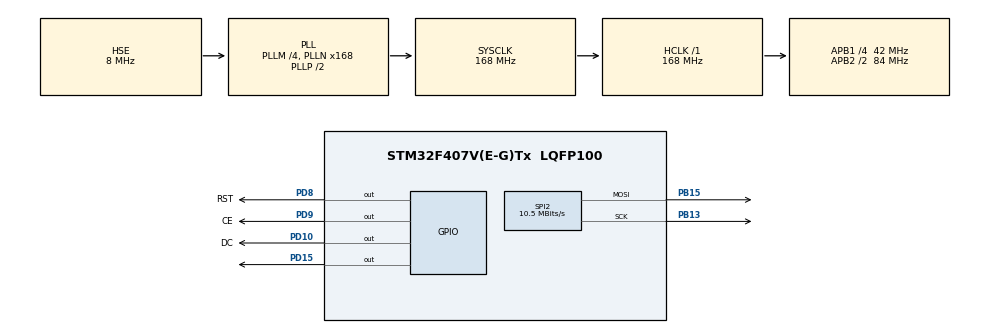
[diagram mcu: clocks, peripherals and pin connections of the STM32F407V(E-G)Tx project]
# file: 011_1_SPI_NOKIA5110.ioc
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Dma.Request0=SPI2_TX
Dma.SPI2_TX.0.Direction=DMA_MEMORY_TO_PERIPH
Dma.SPI2_TX.0.FIFOMode=DMA_FIFOMODE_DISABLE
Dma.SPI2_TX.0.Instance=DMA1_Stream4
Dma.SPI2_TX.0.MemDataAlignment=DMA_MDATAALIGN_BYTE
Dma.SPI2_TX.0.MemInc=DMA_MINC_ENABLE
Dma.SPI2_TX.0.Mode=DMA_NORMAL
Dma.SPI2_TX.0.PeriphDataAlignment=DMA_PDATAALIGN_BYTE
Dma.SPI2_TX.0.PeriphInc=DMA_PINC_DISABLE
Dma.SPI2_TX.0.Priority=DMA_PRIORITY_LOW
Mcu.Family=STM32F4
Mcu.Name=STM32F407V(E-G)Tx
Mcu.Package=LQFP100
NVIC.DMA1_Stream4_IRQn=true\:0\:0\:false\:false\:true\:false\:true
NVIC.PriorityGroup=NVIC_PRIORITYGROUP_4
PB13.Mode=TX_Only_Simplex_Unidirect_Master
PB13.Signal=SPI2_SCK
PB15.Mode=TX_Only_Simplex_Unidirect_Master
PB15.Signal=SPI2_MOSI
PD10.GPIO_Label=DC
PD10.Signal=GPIO_Output
PD15.Signal=GPIO_Output
PD8.GPIO_Label=RST
PD8.Signal=GPIO_Output
PD9.GPIO_Label=CE
PD9.Signal=GPIO_Output
PH0-OSC_IN.Mode=HSE-External-Oscillator
PH0-OSC_IN.Signal=RCC_OSC_IN
PH1-OSC_OUT.Mode=HSE-External-Oscillator
PH1-OSC_OUT.Signal=RCC_OSC_OUT
ProjectManager.HeapSize=0x200
ProjectManager.StackSize=0x400
ProjectManager.TargetToolchain=STM32CubeIDE
RCC.48MHZClocksFreq_Value=84000000
RCC.AHBFreq_Value=168000000
RCC.APB1CLKDivider=RCC_HCLK_DIV4
RCC.APB1Freq_Value=42000000
RCC.APB1TimFreq_Value=84000000
RCC.APB2CLKDivider=RCC_HCLK_DIV2
RCC.APB2Freq_Value=84000000
RCC.APB2TimFreq_Value=168000000
RCC.CortexFreq_Value=168000000
RCC.HCLKFreq_Value=168000000
RCC.HSE_VALUE=8000000
RCC.HSI_VALUE=16000000
RCC.LSE_VALUE=32768
RCC.PLLM=4
RCC.PLLN=168
RCC.PLLSourceVirtual=RCC_PLLSOURCE_HSE
RCC.SYSCLKFreq_VALUE=168000000
RCC.SYSCLKSource=RCC_SYSCLKSOURCE_PLLCLK
RCC.VCOOutputFreq_Value=336000000
SPI2.BaudRatePrescaler=SPI_BAUDRATEPRESCALER_4
SPI2.CalculateBaudRate=10.5 MBits/s
SPI2.Direction=SPI_DIRECTION_2LINES
SPI2.Mode=SPI_MODE_MASTER
SPI2.VirtualType=VM_MASTER
board=custom

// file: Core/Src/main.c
/* USER CODE BEGIN Header */
/**
  ******************************************************************************
  * @file           : main.c
  * @brief          : Main program body
  ******************************************************************************
  * @attention
  *
  * <h2><center>&copy; Copyright (c) 2021 STMicroelectronics.
  * All rights reserved.</center></h2>
  *
  * This software component is licensed by ST under BSD 3-Clause license,
  * the "License"; You may not use this file except in compliance with the
  * License. You may obtain a copy of the License at:
  *                        opensource.org/licenses/BSD-3-Clause
  *
  ******************************************************************************
  */
/* USER CODE END Header */
#include "main.h"

/* USER CODE BEGIN Includes */
#include "Nokia5110.h"
/* USER CODE END Includes */

SPI_HandleTypeDef hspi2;
DMA_HandleTypeDef hdma_spi2_tx;

void SystemClock_Config(void);
static void MX_GPIO_Init(void);
static void MX_DMA_Init(void);
static void MX_SPI2_Init(void);

int main(void)
{

  /* MCU Configuration--------------------------------------------------------*/

  /* Reset of all peripherals, Initializes the Flash interface and the Systick. */
  HAL_Init();

  /* Configure the system clock */
  SystemClock_Config();

  /* Initialize all configured peripherals */
  MX_GPIO_Init();
  MX_DMA_Init();
  MX_SPI2_Init();

  /* Infinite loop */
  while (1)
  {

    /* USER CODE BEGIN 3 */

	  Nokia5110_SetPixel(0, 0, 1);
	  Nokia5110_SetPixel(1, 0, 1);
	  Nokia5110_SetPixel(2, 0, 1);
	  Nokia5110_SetPixel(3, 0, 1);
	  Nokia5110_SetPixel(4, 0, 1);
	  Nokia5110_SetPixel(0, 1, 1);
	  Nokia5110_SetPixel(0, 2, 1);
	  Nokia5110_SetPixel(0, 3, 1);
	  Nokia5110_SetPixel(1, 3, 1);
	  Nokia5110_SetPixel(2, 3, 1);
	  Nokia5110_SetPixel(3, 3, 1);
	  Nokia5110_SetPixel(0, 4, 1);
	  Nokia5110_SetPixel(0, 5, 1);
	  Nokia5110_SetPixel(0, 6, 1);
	  Nokia5110_Update();

  }
  /* USER CODE END 3 */
}

void SystemClock_Config(void)
{
  RCC_OscInitTypeDef RCC_OscInitStruct = {0};
  RCC_ClkInitTypeDef RCC_ClkInitStruct = {0};

  /** Configure the main internal regulator output voltage
  */
  __HAL_RCC_PWR_CLK_ENABLE();
  __HAL_PWR_VOLTAGESCALING_CONFIG(PWR_REGULATOR_VOLTAGE_SCALE1);
  /** Initializes the RCC Oscillators according to the specified parameters
  * in the RCC_OscInitTypeDef structure.
  */
  RCC_OscInitStruct.OscillatorType = RCC_OSCILLATORTYPE_HSE;
  RCC_OscInitStruct.HSEState = RCC_HSE_ON;
  RCC_OscInitStruct.PLL.PLLState = RCC_PLL_ON;
  RCC_OscInitStruct.PLL.PLLSource = RCC_PLLSOURCE_HSE;
  RCC_OscInitStruct.PLL.PLLM = 4;
  RCC_OscInitStruct.PLL.PLLN = 168;
  RCC_OscInitStruct.PLL.PLLP = RCC_PLLP_DIV2;
  RCC_OscInitStruct.PLL.PLLQ = 4;
  if (HAL_RCC_OscConfig(&RCC_OscInitStruct) != HAL_OK)
  {
    Error_Handler();
  }
  /** Initializes the CPU, AHB and APB buses clocks
  */
  RCC_ClkInitStruct.ClockType = RCC_CLOCKTYPE_HCLK|RCC_CLOCKTYPE_SYSCLK
                              |RCC_CLOCKTYPE_PCLK1|RCC_CLOCKTYPE_PCLK2;
  RCC_ClkInitStruct.SYSCLKSource = RCC_SYSCLKSOURCE_PLLCLK;
  RCC_ClkInitStruct.AHBCLKDivider = RCC_SYSCLK_DIV1;
  RCC_ClkInitStruct.APB1CLKDivider = RCC_HCLK_DIV4;
  RCC_ClkInitStruct.APB2CLKDivider = RCC_HCLK_DIV2;

  if (HAL_RCC_ClockConfig(&RCC_ClkInitStruct, FLASH_LATENCY_5) != HAL_OK)
  {
    Error_Handler();
  }
}

static void MX_SPI2_Init(void)
{

  /* SPI2 parameter configuration*/
  hspi2.Instance = SPI2;
  hspi2.Init.Mode = SPI_MODE_MASTER;
  hspi2.Init.Direction = SPI_DIRECTION_2LINES;
  hspi2.Init.DataSize = SPI_DATASIZE_8BIT;
  hspi2.Init.CLKPolarity = SPI_POLARITY_LOW;
  hspi2.Init.CLKPhase = SPI_PHASE_1EDGE;
  hspi2.Init.NSS = SPI_NSS_SOFT;
  hspi2.Init.BaudRatePrescaler = SPI_BAUDRATEPRESCALER_4;
  hspi2.Init.FirstBit = SPI_FIRSTBIT_MSB;
  hspi2.Init.TIMode = SPI_TIMODE_DISABLE;
  hspi2.Init.CRCCalculation = SPI_CRCCALCULATION_DISABLE;
  hspi2.Init.CRCPolynomial = 10;
  if (HAL_SPI_Init(&hspi2) != HAL_OK)
  {
    Error_Handler();
  }

}

static void MX_DMA_Init(void)
{

  /* DMA controller clock enable */
  __HAL_RCC_DMA1_CLK_ENABLE();

  /* DMA interrupt init */
  /* DMA1_Stream4_IRQn interrupt configuration */
  HAL_NVIC_SetPriority(DMA1_Stream4_IRQn, 0, 0);
  HAL_NVIC_EnableIRQ(DMA1_Stream4_IRQn);

}

static void MX_GPIO_Init(void)
{
  GPIO_InitTypeDef GPIO_InitStruct = {0};

  /* GPIO Ports Clock Enable */
  __HAL_RCC_GPIOH_CLK_ENABLE();
  __HAL_RCC_GPIOB_CLK_ENABLE();
  __HAL_RCC_GPIOD_CLK_ENABLE();

  /*Configure GPIO pin Output Level */
  HAL_GPIO_WritePin(GPIOD, RST_Pin|CE_Pin|DC_Pin|GPIO_PIN_15, GPIO_PIN_RESET);

  /*Configure GPIO pins : RST_Pin CE_Pin DC_Pin PD15 */
  GPIO_InitStruct.Pin = RST_Pin|CE_Pin|DC_Pin|GPIO_PIN_15;
  GPIO_InitStruct.Mode = GPIO_MODE_OUTPUT_PP;
  GPIO_InitStruct.Pull = GPIO_NOPULL;
  GPIO_InitStruct.Speed = GPIO_SPEED_FREQ_LOW;
  HAL_GPIO_Init(GPIOD, &GPIO_InitStruct);

}

void Error_Handler(void)
{
  __disable_irq();
  while (1)
  {
  }
}

/************************ (C) COPYRIGHT STMicroelectronics *****END OF FILE****/
